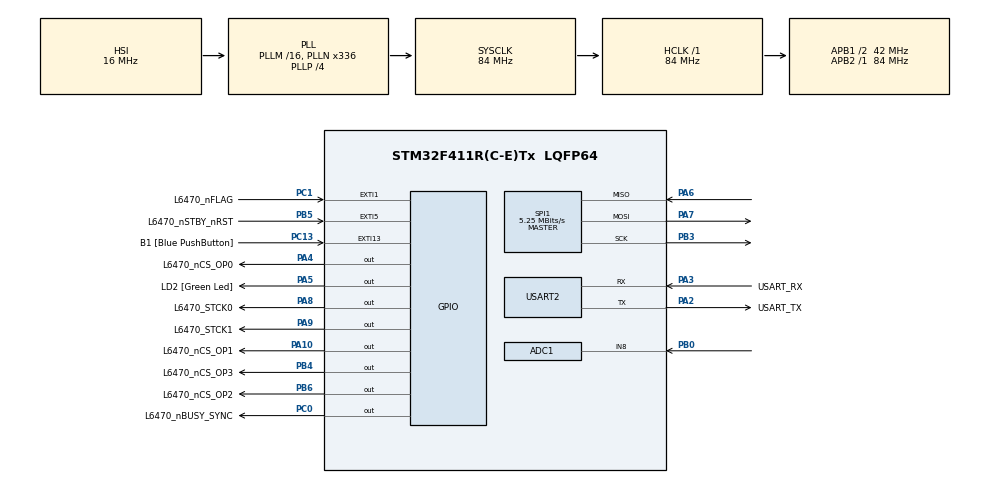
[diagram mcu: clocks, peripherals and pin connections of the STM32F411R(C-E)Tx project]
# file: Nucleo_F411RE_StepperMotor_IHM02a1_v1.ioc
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Mcu.Family=STM32F4
PA6.Mode=Full_Duplex_Master
RCC.CortexFreq_Value=84000000
SPI1.VirtualType=VM_MASTER
PA14.GPIO_Label=TCK
PC0.GPIO_Label=L6470_nBUSY_SYNC
PC0.GPIO_ModeDefaultOutputPP=GPIO_MODE_OUTPUT_OD
PB6.GPIO_Label=L6470_nCS_OP2
PB3.GPIO_Speed=GPIO_SPEED_FREQ_HIGH
RCC.SYSCLKSource=RCC_SYSCLKSOURCE_PLLCLK
ProjectManager.StackSize=0x400
SPI1.CLKPolarity=SPI_POLARITY_HIGH
PH0\ -\ OSC_IN.Signal=RCC_OSC_IN
SPI1.Direction=SPI_DIRECTION_2LINES
RCC.HCLKFreq_Value=84000000
RCC.APB2TimFreq_Value=84000000
PB6.Signal=GPIO_Output
ADC1.InjNumberOfConversion=0
SPI1.CalculateBaudRate=5.25 MBits/s
RCC.AHBFreq_Value=84000000
NVIC.EXTI15_10_IRQn=true\:0\:0\:false\:false\:true\:true\:true
ADC1.Channel-0\#ChannelRegularConversion=ADC_CHANNEL_8
RCC.HSE_VALUE=8000000
PB3.Mode=Full_Duplex_Master
PC1.GPIO_PuPd=GPIO_NOPULL
PC13-ANTI_TAMP.Signal=GPXTI13
PC14-OSC32_IN.Mode=LSE-External-Oscillator
PA14.Mode=Serial_Wire
NVIC.TIM2_IRQn=true\:0\:0\:false\:false\:true\:true\:true
PA10.GPIO_Label=L6470_nCS_OP1
SH.ADCx_IN8.0=ADC1_IN8,IN8
PA8.Signal=GPIO_Output
ADC1.SamplingTime-0\#ChannelRegularConversion=ADC_SAMPLETIME_3CYCLES
RCC.FLatency-AdvancedSettings=FLASH_LATENCY_2
Mcu.Package=LQFP64
TIM2.Prescaler=8399
PA6.Signal=SPI1_MISO
USART2.VirtualMode=VM_ASYNC
PA2.GPIO_Label=USART_TX
PA10.Signal=GPIO_Output
PA10.GPIO_Speed=GPIO_SPEED_FREQ_HIGH
TIM2.TIM_MasterOutputTrigger=TIM_TRGO_UPDATE
PB5.GPIO_Label=L6470_nSTBY_nRST
RCC.APB1TimFreq_Value=84000000
PA6.GPIO_Speed=GPIO_SPEED_FREQ_HIGH
SPI1.BaudRatePrescaler=SPI_BAUDRATEPRESCALER_16
PA4.GPIO_Label=L6470_nCS_OP0
PB4.Signal=GPIO_Output
PA3.Signal=USART2_RX
PB5.GPIO_ModeDefaultEXTI=GPIO_MODE_IT_FALLING
PC15-OSC32_OUT.Mode=LSE-External-Oscillator
ADC1.Rank-0\#ChannelRegularConversion=1
PA7.Mode=Full_Duplex_Master
PC13-ANTI_TAMP.GPIO_Label=B1 [Blue PushButton]
PA9.GPIO_Label=L6470_STCK1
PH1\ -\ OSC_OUT.Mode=HSE-External-Clock-Source
SPI1.CLKPhase=SPI_PHASE_2EDGE
PC0.Signal=GPIO_Output
RCC.APB1CLKDivider=RCC_HCLK_DIV2
PC14-OSC32_IN.Signal=RCC_OSC32_IN
PA3.Mode=Asynchronous
PA13.Signal=SYS_JTMS-SWDIO
PC0.GPIO_Speed=GPIO_SPEED_FREQ_HIGH
PH0\ -\ OSC_IN.Mode=HSE-External-Clock-Source
PA8.GPIO_Label=L6470_STCK0
ProjectManager.TargetToolchain=STM32CubeIDE
PA9.Signal=GPIO_Output
PC15-OSC32_OUT.Signal=RCC_OSC32_OUT
PA5.Signal=GPIO_Output
PH1\ -\ OSC_OUT.Signal=RCC_OSC_OUT
board=NUCLEO-F411RE
RCC.VCOOutputFreq_Value=336000000
PA7.GPIO_Speed=GPIO_SPEED_FREQ_HIGH
RCC.APB2Freq_Value=84000000
PB4.GPIO_Label=L6470_nCS_OP3
VP_TIM2_VS_ClockSourceINT.Mode=Internal
SPI1.Mode=SPI_MODE_MASTER
PC1.GPIO_Label=L6470_nFLAG
PA13.Mode=Serial_Wire
Mcu.Name=STM32F411R(C-E)Tx
PA2.Signal=USART2_TX
PA13.GPIO_Label=TMS
RCC.LockedElements=TimPrescOut,PeriphPrescOutput
RCC.48MHZClocksFreq_Value=84000000
PB3.Signal=SPI1_SCK
PA4.Signal=GPIO_Output
RCC.SYSCLKFreq_VALUE=84000000
PB5.Signal=GPXTI5
ADC1.master=1
PA5.GPIO_Label=LD2 [Green Led]
PC13-ANTI_TAMP.GPIO_ModeDefaultEXTI=GPIO_MODE_IT_FALLING
PA14.Signal=SYS_JTCK-SWCLK
ProjectManager.HeapSize=0x200
RCC.HSI_VALUE=16000000
RCC.PLLP=RCC_PLLP_DIV4
NVIC.PriorityGroup=NVIC_PRIORITYGROUP_0
ADC1.NbrOfConversionFlag=1
RCC.PLLN=336
PC1.GPIO_ModeDefaultEXTI=GPIO_MODE_IT_FALLING
PA2.Mode=Asynchronous
RCC.APB1Freq_Value=42000000
PB0.Signal=ADCx_IN8
PC1.Signal=GPXTI1
PA3.GPIO_Label=USART_RX
PA7.Signal=SPI1_MOSI

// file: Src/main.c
/* USER CODE BEGIN Header */
/**
 ******************************************************************************
 * @file           : main.c
 * @brief          : Main program body
 ******************************************************************************
 * @attention
 *
 * <h2><center>&copy; Copyright (c) 2020 STMicroelectronics.
 * All rights reserved.</center></h2>
 *
 * This software component is licensed by ST under BSD 3-Clause license,
 * the "License"; You may not use this file except in compliance with the
 * License. You may obtain a copy of the License at:
 *                        opensource.org/licenses/BSD-3-Clause
 *
 ******************************************************************************
 */
/* USER CODE END Header */

#include "main.h"

/* USER CODE BEGIN Includes */

#include "xnucleoihm02a1.h"
#include "example.h"
#include "example_usart.h"

/* USER CODE END Includes */

ADC_HandleTypeDef hadc1;

SPI_HandleTypeDef hspi1;

TIM_HandleTypeDef htim2;

UART_HandleTypeDef huart2;

/* USER CODE BEGIN PV */
uint8_t TIM2_AWAITING_UPDATE_EVENT;
/* USER CODE END PV */

void SystemClock_Config(void);
static void MX_GPIO_Init(void);
static void MX_ADC1_Init(void);
static void MX_SPI1_Init(void);
static void MX_USART2_UART_Init(void);
static void MX_TIM2_Init(void);

/* USER CODE BEGIN 0 */

#ifdef __GNUC__
/* With GCC, small printf (option LD Linker->Libraries->Small printf
     set to 'Yes') calls __io_putchar() */
#define PUTCHAR_PROTOTYPE int __io_putchar(int ch)
#else
#define PUTCHAR_PROTOTYPE int fputc(int ch, FILE *f)
#endif /* __GNUC__ */

/* Private functions ---------------------------------------------------------*/
/**
 * @brief  Retargets the C library printf function to the USART.
 * @param  None
 * @retval None
 */
PUTCHAR_PROTOTYPE
{
	/* Place your implementation of fputc here */
	/* e.g. write a character to the EVAL_COM1 and Loop until the end of transmission */
	HAL_UART_Transmit(&huart2, (uint8_t *)&ch, 1, 0xFFFF);

	return ch;
}

/* USER CODE END 0 */

int main(void)
{

  /* MCU Configuration--------------------------------------------------------*/

  /* Reset of all peripherals, Initializes the Flash interface and the Systick. */
  HAL_Init();

  /* Configure the system clock */
  SystemClock_Config();

  /* Initialize all configured peripherals */
  MX_GPIO_Init();
  MX_ADC1_Init();
  MX_SPI1_Init();
  MX_USART2_UART_Init();
  MX_TIM2_Init();
  /* USER CODE BEGIN 2 */

#ifdef NUCLEO_USE_USER_BUTTON
	/* Configures Button GPIO and EXTI Line */
	BSP_PB_Init(BUTTON_KEY, BUTTON_MODE_EXTI);
#endif

#ifdef NUCLEO_USE_USER_LED
	/* Configures LED GPIO */
	BSP_LED_Init(LED2);
#endif

	printf("%% Start\n");

	/* Perform a batch commands for X-NUCLEO-IHM02A1 */
	MicrosteppingMotor_Example_01();

  /* USER CODE END 2 */

  /* Infinite loop */
	while (1)
	{

	}
}

void SystemClock_Config(void)
{
  RCC_OscInitTypeDef RCC_OscInitStruct = {0};
  RCC_ClkInitTypeDef RCC_ClkInitStruct = {0};

  /** Configure the main internal regulator output voltage
  */
  __HAL_RCC_PWR_CLK_ENABLE();
  __HAL_PWR_VOLTAGESCALING_CONFIG(PWR_REGULATOR_VOLTAGE_SCALE1);
  /** Initializes the CPU, AHB and APB busses clocks
  */
  RCC_OscInitStruct.OscillatorType = RCC_OSCILLATORTYPE_HSI;
  RCC_OscInitStruct.HSIState = RCC_HSI_ON;
  RCC_OscInitStruct.HSICalibrationValue = RCC_HSICALIBRATION_DEFAULT;
  RCC_OscInitStruct.PLL.PLLState = RCC_PLL_ON;
  RCC_OscInitStruct.PLL.PLLSource = RCC_PLLSOURCE_HSI;
  RCC_OscInitStruct.PLL.PLLM = 16;
  RCC_OscInitStruct.PLL.PLLN = 336;
  RCC_OscInitStruct.PLL.PLLP = RCC_PLLP_DIV4;
  RCC_OscInitStruct.PLL.PLLQ = 4;
  if (HAL_RCC_OscConfig(&RCC_OscInitStruct) != HAL_OK)
  {
    Error_Handler();
  }
  /** Initializes the CPU, AHB and APB busses clocks
  */
  RCC_ClkInitStruct.ClockType = RCC_CLOCKTYPE_HCLK|RCC_CLOCKTYPE_SYSCLK
                              |RCC_CLOCKTYPE_PCLK1|RCC_CLOCKTYPE_PCLK2;
  RCC_ClkInitStruct.SYSCLKSource = RCC_SYSCLKSOURCE_PLLCLK;
  RCC_ClkInitStruct.AHBCLKDivider = RCC_SYSCLK_DIV1;
  RCC_ClkInitStruct.APB1CLKDivider = RCC_HCLK_DIV2;
  RCC_ClkInitStruct.APB2CLKDivider = RCC_HCLK_DIV1;

  if (HAL_RCC_ClockConfig(&RCC_ClkInitStruct, FLASH_LATENCY_2) != HAL_OK)
  {
    Error_Handler();
  }
}

static void MX_ADC1_Init(void)
{

  ADC_ChannelConfTypeDef sConfig = {0};

  /** Configure the global features of the ADC (Clock, Resolution, Data Alignment and number of conversion)
  */
  hadc1.Instance = ADC1;
  hadc1.Init.ClockPrescaler = ADC_CLOCK_SYNC_PCLK_DIV4;
  hadc1.Init.Resolution = ADC_RESOLUTION_12B;
  hadc1.Init.ScanConvMode = DISABLE;
  hadc1.Init.ContinuousConvMode = DISABLE;
  hadc1.Init.DiscontinuousConvMode = DISABLE;
  hadc1.Init.ExternalTrigConvEdge = ADC_EXTERNALTRIGCONVEDGE_NONE;
  hadc1.Init.ExternalTrigConv = ADC_SOFTWARE_START;
  hadc1.Init.DataAlign = ADC_DATAALIGN_RIGHT;
  hadc1.Init.NbrOfConversion = 1;
  hadc1.Init.DMAContinuousRequests = DISABLE;
  hadc1.Init.EOCSelection = ADC_EOC_SINGLE_CONV;
  if (HAL_ADC_Init(&hadc1) != HAL_OK)
  {
    Error_Handler();
  }
  /** Configure for the selected ADC regular channel its corresponding rank in the sequencer and its sample time.
  */
  sConfig.Channel = ADC_CHANNEL_8;
  sConfig.Rank = 1;
  sConfig.SamplingTime = ADC_SAMPLETIME_3CYCLES;
  if (HAL_ADC_ConfigChannel(&hadc1, &sConfig) != HAL_OK)
  {
    Error_Handler();
  }

}

static void MX_SPI1_Init(void)
{

  /* USER CODE BEGIN SPI1_Init 0 */
//#define MAX_BAUDRATE  5000000
#define MAX_BAUDRATE  5000000
	uint32_t freq;
	uint16_t freq_div;
	uint32_t spi_baudrateprescaler;
  /* USER CODE END SPI1_Init 0 */

  /* SPI1 parameter configuration*/
  hspi1.Instance = SPI1;
  hspi1.Init.Mode = SPI_MODE_MASTER;
  hspi1.Init.Direction = SPI_DIRECTION_2LINES;
  hspi1.Init.DataSize = SPI_DATASIZE_8BIT;
  hspi1.Init.CLKPolarity = SPI_POLARITY_HIGH;
  hspi1.Init.CLKPhase = SPI_PHASE_2EDGE;
  hspi1.Init.NSS = SPI_NSS_SOFT;
  hspi1.Init.BaudRatePrescaler = SPI_BAUDRATEPRESCALER_16;
  hspi1.Init.FirstBit = SPI_FIRSTBIT_MSB;
  hspi1.Init.TIMode = SPI_TIMODE_DISABLE;
  hspi1.Init.CRCCalculation = SPI_CRCCALCULATION_DISABLE;
  hspi1.Init.CRCPolynomial = 10;
  if (HAL_SPI_Init(&hspi1) != HAL_OK)
  {
    Error_Handler();
  }
  /* USER CODE BEGIN SPI1_Init 2 */
	freq = HAL_RCC_GetPCLK2Freq();
	freq_div = (freq / MAX_BAUDRATE);

	if (freq_div < 2)
	{
		spi_baudrateprescaler = SPI_BAUDRATEPRESCALER_2;
	}
	else
	{
		if (freq_div < 4)
		{
			spi_baudrateprescaler = SPI_BAUDRATEPRESCALER_4;
		}
		else
		{
			if (freq_div < 8)
			{
				spi_baudrateprescaler = SPI_BAUDRATEPRESCALER_8;
			}
			else
			{
				if (freq_div < 16)
				{
					spi_baudrateprescaler = SPI_BAUDRATEPRESCALER_16;
				}
				else
				{
					if (freq_div < 32)
					{
						spi_baudrateprescaler = SPI_BAUDRATEPRESCALER_32;
					}
					else
					{
						if (freq_div < 64)
						{
							spi_baudrateprescaler = SPI_BAUDRATEPRESCALER_64;
						}
						else
						{
							if (freq_div < 128)
							{
								spi_baudrateprescaler = SPI_BAUDRATEPRESCALER_128;
							}
							else
							{
								if (freq_div < 256)
								{
									spi_baudrateprescaler = SPI_BAUDRATEPRESCALER_256;
								}
								else
								{
									/* the condition is not possible, you should reduce the CPU frequency */
									while(1);
								}
							}
						}
					}
				}
			}
		}
	}

	hspi1.Init.BaudRatePrescaler = spi_baudrateprescaler;  // the baudrate will be lower than MAX_BAUDRATE (5 MBits/s)
	if (HAL_SPI_Init(&hspi1) != HAL_OK)
	{
		Error_Handler();
	}
  /* USER CODE END SPI1_Init 2 */

}

static void MX_TIM2_Init(void)
{

  TIM_ClockConfigTypeDef sClockSourceConfig = {0};
  TIM_MasterConfigTypeDef sMasterConfig = {0};

  htim2.Instance = TIM2;
  htim2.Init.Prescaler = 8399;
  htim2.Init.CounterMode = TIM_COUNTERMODE_UP;
  htim2.Init.Period = 0;
  htim2.Init.ClockDivision = TIM_CLOCKDIVISION_DIV1;
  htim2.Init.AutoReloadPreload = TIM_AUTORELOAD_PRELOAD_DISABLE;
  if (HAL_TIM_Base_Init(&htim2) != HAL_OK)
  {
    Error_Handler();
  }
  sClockSourceConfig.ClockSource = TIM_CLOCKSOURCE_INTERNAL;
  if (HAL_TIM_ConfigClockSource(&htim2, &sClockSourceConfig) != HAL_OK)
  {
    Error_Handler();
  }
  sMasterConfig.MasterOutputTrigger = TIM_TRGO_UPDATE;
  sMasterConfig.MasterSlaveMode = TIM_MASTERSLAVEMODE_DISABLE;
  if (HAL_TIMEx_MasterConfigSynchronization(&htim2, &sMasterConfig) != HAL_OK)
  {
    Error_Handler();
  }

}

static void MX_USART2_UART_Init(void)
{

  huart2.Instance = USART2;
  huart2.Init.BaudRate = 115200;
  huart2.Init.WordLength = UART_WORDLENGTH_8B;
  huart2.Init.StopBits = UART_STOPBITS_1;
  huart2.Init.Parity = UART_PARITY_NONE;
  huart2.Init.Mode = UART_MODE_TX_RX;
  huart2.Init.HwFlowCtl = UART_HWCONTROL_NONE;
  huart2.Init.OverSampling = UART_OVERSAMPLING_16;
  if (HAL_UART_Init(&huart2) != HAL_OK)
  {
    Error_Handler();
  }

}

static void MX_GPIO_Init(void)
{
  GPIO_InitTypeDef GPIO_InitStruct = {0};

  /* GPIO Ports Clock Enable */
  __HAL_RCC_GPIOC_CLK_ENABLE();
  __HAL_RCC_GPIOH_CLK_ENABLE();
  __HAL_RCC_GPIOA_CLK_ENABLE();
  __HAL_RCC_GPIOB_CLK_ENABLE();

  /*Configure GPIO pin Output Level */
  HAL_GPIO_WritePin(L6470_nBUSY_SYNC_GPIO_Port, L6470_nBUSY_SYNC_Pin, GPIO_PIN_RESET);

  /*Configure GPIO pin Output Level */
  HAL_GPIO_WritePin(GPIOA, L6470_nCS_OP0_Pin|LD2_Pin|L6470_STCK0_Pin|L6470_STCK1_Pin
                          |L6470_nCS_OP1_Pin, GPIO_PIN_RESET);

  /*Configure GPIO pin Output Level */
  HAL_GPIO_WritePin(GPIOB, L6470_nCS_OP3_Pin|L6470_nCS_OP2_Pin, GPIO_PIN_RESET);

  /*Configure GPIO pins : B1_Pin L6470_nFLAG_Pin */
  GPIO_InitStruct.Pin = B1_Pin|L6470_nFLAG_Pin;
  GPIO_InitStruct.Mode = GPIO_MODE_IT_FALLING;
  GPIO_InitStruct.Pull = GPIO_NOPULL;
  HAL_GPIO_Init(GPIOC, &GPIO_InitStruct);

  /*Configure GPIO pin : L6470_nBUSY_SYNC_Pin */
  GPIO_InitStruct.Pin = L6470_nBUSY_SYNC_Pin;
  GPIO_InitStruct.Mode = GPIO_MODE_OUTPUT_OD;
  GPIO_InitStruct.Pull = GPIO_NOPULL;
  GPIO_InitStruct.Speed = GPIO_SPEED_FREQ_HIGH;
  HAL_GPIO_Init(L6470_nBUSY_SYNC_GPIO_Port, &GPIO_InitStruct);

  /*Configure GPIO pins : L6470_nCS_OP0_Pin LD2_Pin L6470_STCK0_Pin L6470_STCK1_Pin */
  GPIO_InitStruct.Pin = L6470_nCS_OP0_Pin|LD2_Pin|L6470_STCK0_Pin|L6470_STCK1_Pin;
  GPIO_InitStruct.Mode = GPIO_MODE_OUTPUT_PP;
  GPIO_InitStruct.Pull = GPIO_NOPULL;
  GPIO_InitStruct.Speed = GPIO_SPEED_FREQ_LOW;
  HAL_GPIO_Init(GPIOA, &GPIO_InitStruct);

  /*Configure GPIO pin : L6470_nCS_OP1_Pin */
  GPIO_InitStruct.Pin = L6470_nCS_OP1_Pin;
  GPIO_InitStruct.Mode = GPIO_MODE_OUTPUT_PP;
  GPIO_InitStruct.Pull = GPIO_NOPULL;
  GPIO_InitStruct.Speed = GPIO_SPEED_FREQ_HIGH;
  HAL_GPIO_Init(L6470_nCS_OP1_GPIO_Port, &GPIO_InitStruct);

  /*Configure GPIO pins : L6470_nCS_OP3_Pin L6470_nCS_OP2_Pin */
  GPIO_InitStruct.Pin = L6470_nCS_OP3_Pin|L6470_nCS_OP2_Pin;
  GPIO_InitStruct.Mode = GPIO_MODE_OUTPUT_PP;
  GPIO_InitStruct.Pull = GPIO_NOPULL;
  GPIO_InitStruct.Speed = GPIO_SPEED_FREQ_LOW;
  HAL_GPIO_Init(GPIOB, &GPIO_InitStruct);

  /*Configure GPIO pin : L6470_nSTBY_nRST_Pin */
  GPIO_InitStruct.Pin = L6470_nSTBY_nRST_Pin;
  GPIO_InitStruct.Mode = GPIO_MODE_IT_FALLING;
  GPIO_InitStruct.Pull = GPIO_NOPULL;
  HAL_GPIO_Init(L6470_nSTBY_nRST_GPIO_Port, &GPIO_InitStruct);

  /* EXTI interrupt init*/
  HAL_NVIC_SetPriority(EXTI15_10_IRQn, 0, 0);
  HAL_NVIC_EnableIRQ(EXTI15_10_IRQn);

}

/* USER CODE BEGIN 4 */

//void HAL_TIM_PeriodElapsedCallback(TIM_HandleTypeDef *htim)
//{
//	if (htim->Instance==TIM2){
//		TIM2_AWAITING_UPDATE_EVENT=0;
//	}
//}

/**
 * @brief  Blinking user LED at 50% duty cycle.
 * @param  repetitions The number of  repetions.
 * @param  period_ms   The blinking period in ms.
 */
void User_LED_Blinking(uint8_t repetitions, uint16_t period_ms)
{
	uint8_t r;
	uint16_t half_period_ms;

	half_period_ms = period_ms >> 1;

	for (r=0; r<repetitions; r++)
	{
		/* Switch on the user LED */
		BSP_LED_On(LED2);
		/* ms delay */
		HAL_Delay(half_period_ms);
		/* Switch off the user LED */
		BSP_LED_Off(LED2);
		/* ms delay */
		HAL_Delay(half_period_ms);
	}
}

/* USER CODE END 4 */

void Error_Handler(void)
{
  /* USER CODE BEGIN Error_Handler_Debug */
	/* User can add his own implementation to report the HAL error return state */

	while(1) { ; }
  /* USER CODE END Error_Handler_Debug */
}

/************************ (C) COPYRIGHT STMicroelectronics *****END OF FILE****/
